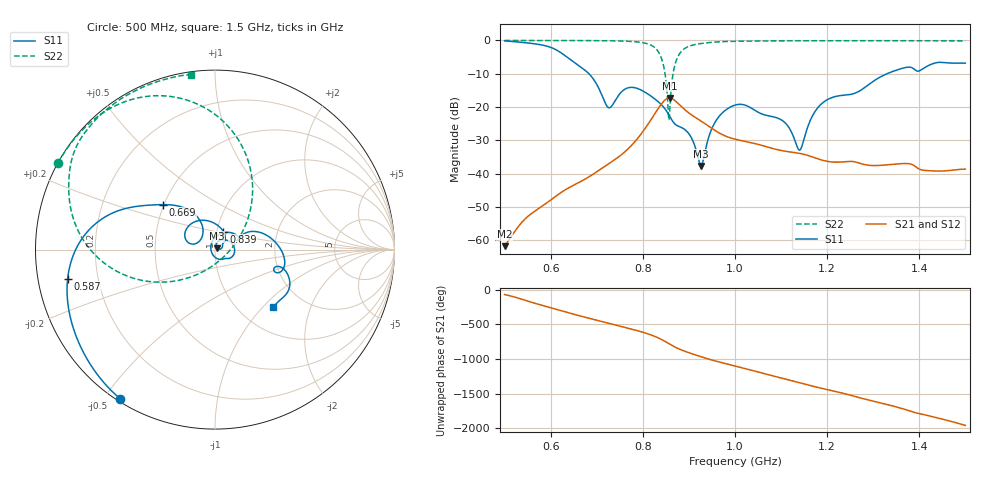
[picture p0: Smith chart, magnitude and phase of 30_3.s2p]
! TOUCHSTONE file generated by CST MICROWAVE STUDIO
! Date and time: Fri Oct 30 08:08:04 2020
! Project name: Scenario_1_Circular_Tissue_out_of_Line.cst
! Parameters = {dy1=156.889; L_HA=400; MT=2.54; Rad_Dielectric=30; Rad_Lower=7.3; Rad_Upper=30; a_HA=580; a_WG=246; b_HA=500; b_WG=121; c_HA=0; c_WG=187; d_feed=85; dx1=520; h_feed=15; h_lower=18; h_upper=40}
! Header version: 2018
! Port assignment regex: !\s*Touchstone port\s*([0-9]+)\s*=\s*(CST MWS port|CST DS port)\s*([0-9]+|Zmin|Zmax)\s*\(\"(.*)\"\)(\s*mode\s*([0-9]+))?.*
! Touchstone port assignment:
! Touchstone port 1 = CST MWS port 1 ("")
! Touchstone port 2 = CST MWS port 2 ("")
# GHz S DB R 50
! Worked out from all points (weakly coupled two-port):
!   1001 points, 500 MHz to 1.5 GHz, reference 50 ohm
!   highest |S21| = -17.32 dB at 858 MHz (marker M1); lowest = -61.8 dB at 500 MHz (marker M2)
!   lowest |S11| = -37.7 dB at 926 MHz (marker M3), VSWR 1.03, Z = 51.1 + j0.793 ohm
!   |S11| at or under -10 dB: 682.9 MHz to 1.33 GHz (647.1 MHz wide, 64.3 % of centre)
!   |S22| runs from -23.9 to 0.0 dB; largest |S21 - S12| = 0.00017
!   S11 on the Smith chart (normalised r, x): 500 MHz: 0.01, -0.55; 587 MHz: 0.09, -0.10; 669 MHz: 0.50, +0.29; 839 MHz: 1.08, +0.22; 1.5 GHz: 1.41, -1.15
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0.5  -0.14 -122.4  -61.81 -67.3  -61.81 -67.3  -0.01 151.1
0.587  -1.55 -168.8  -49.27 126.4  -49.26 126.4  -0.02 145.1
0.625  -3.95 163.0  -45.46 55.2  -45.46 55.2  -0.03 142.1
0.667  -8.15 140.2  -42.26 -22.1  -42.26 -22.1  -0.04 138.3
0.669  -8.35 139.0  -42.11 -25.5  -42.11 -25.5  -0.04 138.1
0.726  -20.22 142.9  -37.05 -123.5  -37.05 -123.5  -0.10 131.4
0.773  -14.11 142.2  -31.88 157.4  -31.88 157.4  -0.29 122.2
0.814  -16.38 94.7  -24.60 77.8  -24.59 77.7  -1.19 103.8
0.834  -18.49 71.2  -20.32 24.4  -20.32 24.4  -3.48 82.0
0.839  -19.13 64.8  -19.33 8.3  -19.33 8.3  -4.86 73.2
0.858  -22.74 41.8  -17.32 -63.0  -17.32 -63.0  -21.94 -89.1
0.868  -24.88 38.0  -17.91 -100.1  -17.91 -100.1  -8.25 -152.2
0.878  -25.82 35.3  -19.13 -132.0  -19.13 -132.0  -4.36 -171.6
0.903  -28.67 11.1  -22.12 165.2  -22.12 165.2  -1.62 164.8
0.926  -37.69 36.5  -24.19 114.6  -24.19 114.6  -0.93 155.1
0.957  -24.51 60.7  -27.09 53.1  -27.09 53.1  -0.49 147.4
1  -19.43 7.7  -29.66 -19.5  -29.66 -19.4  -0.25 140.1
1.102  -23.99 -60.4  -33.11 163.9  -33.11 163.9  -0.12 129.4
1.14  -32.97 -168.3  -33.93 98.7  -33.93 98.7  -0.11 126.3
1.167  -22.97 87.1  -34.95 51.0  -34.95 51.0  -0.10 124.1
1.334  -9.77 10.1  -37.33 137.8  -37.33 137.8  -0.09 111.4
1.5  -6.82 -44.9  -38.68 -159.0  -38.68 -159.0  -0.14 97.8
